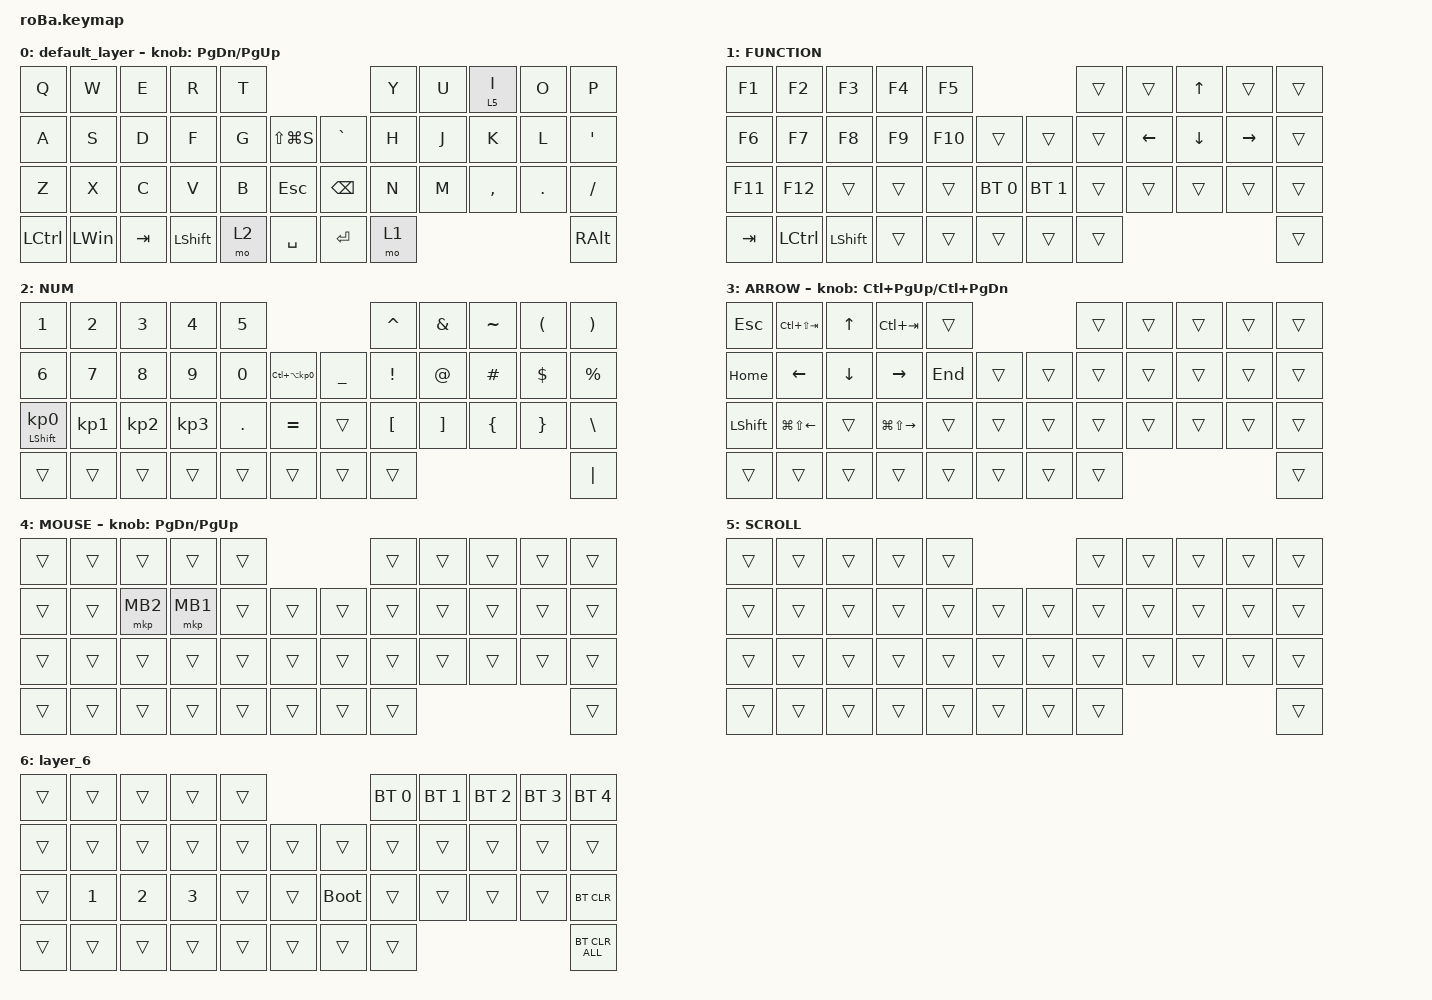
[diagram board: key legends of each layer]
#include <behaviors.dtsi>
#include <dt-bindings/zmk/bt.h>
#include <dt-bindings/zmk/keys.h>
#include <dt-bindings/zmk/pointing.h>

&mt {
    flavor = "balanced";
    quick-tap-ms = <0>;
};

&trackball {
    automouse-layer = <4>;
    scroll-layers = <5>;

    // arrows {
    //     layers = <3>;
    //     bindings =
    //         <&kp RIGHT_ARROW>,
    //         <&kp LEFT_ARROW>,
    //         <&kp UP_ARROW>,
    //         <&kp DOWN_ARROW>;
    //     tick = <10>;
    //     wait-ms = <5>;
    //     tap-ms = <5>;
    // };
};

/ {
    combos {
        compatible = "zmk,combos";

        tab {
            bindings = <&kp TAB>;
            key-positions = <11 12>;
        };

        shift_tab {
            bindings = <&kp LS(TAB)>;
            key-positions = <12 13>;
        };

        muhennkann {
            bindings = <&to_layer_0 INT_MUHENKAN>;
            key-positions = <11 10>;
        };

        double_quotation {
            bindings = <&kp DOUBLE_QUOTES>;
            key-positions = <20 21>;
        };

        eq {
            bindings = <&kp EQUAL>;
            key-positions = <24 25>;
        };
    };

    macros {
        to_layer_0: to_layer_0 {
            compatible = "zmk,behavior-macro-one-param";
            #binding-cells = <1>;
            bindings = <&to 0 &macro_param_1to1 &kp MACRO_PLACEHOLDER>;
            label = "TO_LAYER_0";
        };
    };

    behaviors {
        lt_to_layer_0: lt_to_layer_0 {
            compatible = "zmk,behavior-hold-tap";
            label = "LAYER_TAP_TO_0";
            bindings = <&mo>, <&to_layer_0>;

            #binding-cells = <2>;
            tapping-term-ms = <200>;
        };
    };

    keymap {
        compatible = "zmk,keymap";

        default_layer {
            bindings = <
&kp Q             &kp W         &kp E    &kp R           &kp T                                    &kp Y  &kp U  &lt 5 I    &kp O    &kp P
&kp A             &kp S         &kp D    &kp F           &kp G  &kp LS(LG(S))      &kp GRAVE      &kp H  &kp J  &kp K      &kp L    &kp SQT
&kp Z             &kp X         &kp C    &kp V           &kp B  &kp ESCAPE         &kp BACKSPACE  &kp N  &kp M  &kp COMMA  &kp DOT  &kp SLASH
&kp LEFT_CONTROL  &kp LEFT_WIN  &kp TAB  &kp LEFT_SHIFT  &mo 2  &kp SPACE          &kp ENTER      &mo 1                             &kp RIGHT_ALT
            >;

            sensor-bindings = <&inc_dec_kp PAGE_DOWN PG_UP>;
        };

        FUNCTION {
            bindings = <
&kp F1   &kp F2            &kp F3          &kp F4  &kp F5                                   &trans  &trans    &kp UP_ARROW    &trans     &trans
&kp F6   &kp F7            &kp F8          &kp F9  &kp F10  &trans            &trans        &trans  &kp LEFT  &kp DOWN_ARROW  &kp RIGHT  &trans
&kp F11  &kp F12           &trans          &trans  &trans   &bt BT_SEL 0      &bt BT_SEL 1  &trans  &trans    &trans          &trans     &trans
&kp TAB  &kp LEFT_CONTROL  &kp LEFT_SHIFT  &trans  &trans   &trans            &trans        &trans                                       &trans
            >;
        };

        NUM {
            bindings = <
&kp NUMBER_1                &kp NUMBER_2     &kp NUMBER_3     &kp NUMBER_4     &kp NUMBER_5                                               &kp CARET         &kp AMPERSAND      &kp TILDE       &kp LEFT_PARENTHESIS  &kp RIGHT_PARENTHESIS
&kp NUMBER_6                &kp NUMBER_7     &kp NUMBER_8     &kp NUMBER_9     &kp NUMBER_0  &kp LC(LA(KP_NUMBER_0))      &kp UNDERSCORE  &kp EXCLAMATION   &kp AT_SIGN        &kp HASH        &kp DOLLAR            &kp PERCENT
&mt LEFT_SHIFT KP_NUMBER_0  &kp KP_NUMBER_1  &kp KP_NUMBER_2  &kp KP_NUMBER_3  &kp PERIOD    &kp EQUAL                    &trans          &kp LEFT_BRACKET  &kp RIGHT_BRACKET  &kp LEFT_BRACE  &kp RIGHT_BRACE       &kp BACKSLASH
&trans                      &trans           &trans           &trans           &trans        &trans                       &trans          &trans                                                                     &kp PIPE
            >;
        };

        ARROW {
            bindings = <
&kp ESCAPE      &kp LC(LS(TAB))         &kp UP_ARROW    &kp LC(TAB)              &trans                       &trans  &trans  &trans  &trans  &trans
&kp HOME        &kp LEFT_ARROW          &kp DOWN_ARROW  &kp RIGHT_ARROW          &kp END  &trans      &trans  &trans  &trans  &trans  &trans  &trans
&kp LEFT_SHIFT  &kp LG(LS(LEFT_ARROW))  &trans          &kp LG(LS(RIGHT_ARROW))  &trans   &trans      &trans  &trans  &trans  &trans  &trans  &trans
&trans          &trans                  &trans          &trans                   &trans   &trans      &trans  &trans                          &trans
            >;

            sensor-bindings = <&inc_dec_kp LC(PAGE_UP) LC(PAGE_DOWN)>;
        };

        MOUSE {
            bindings = <
&trans  &trans  &trans    &trans    &trans                      &trans  &trans  &trans  &trans  &trans
&trans  &trans  &mkp MB2  &mkp MB1  &trans  &trans      &trans  &trans  &trans  &trans  &trans  &trans
&trans  &trans  &trans    &trans    &trans  &trans      &trans  &trans  &trans  &trans  &trans  &trans
&trans  &trans  &trans    &trans    &trans  &trans      &trans  &trans                          &trans
            >;

            sensor-bindings = <&inc_dec_kp PAGE_DOWN PG_UP>;
        };

        SCROLL {
            bindings = <
&trans  &trans  &trans  &trans  &trans                      &trans  &trans  &trans  &trans  &trans
&trans  &trans  &trans  &trans  &trans  &trans      &trans  &trans  &trans  &trans  &trans  &trans
&trans  &trans  &trans  &trans  &trans  &trans      &trans  &trans  &trans  &trans  &trans  &trans
&trans  &trans  &trans  &trans  &trans  &trans      &trans  &trans                          &trans
            >;
        };

        layer_6 {
            bindings = <
&trans  &trans        &trans        &trans        &trans                           &bt BT_SEL 0  &bt BT_SEL 1  &bt BT_SEL 2  &bt BT_SEL 3  &bt BT_SEL 4
&trans  &trans        &trans        &trans        &trans  &trans      &trans       &trans        &trans        &trans        &trans        &trans
&trans  &kp NUMBER_1  &kp NUMBER_2  &kp NUMBER_3  &trans  &trans      &bootloader  &trans        &trans        &trans        &trans        &bt BT_CLR
&trans  &trans        &trans        &trans        &trans  &trans      &trans       &trans                                                  &bt BT_CLR_ALL
            >;
        };
    };
};
